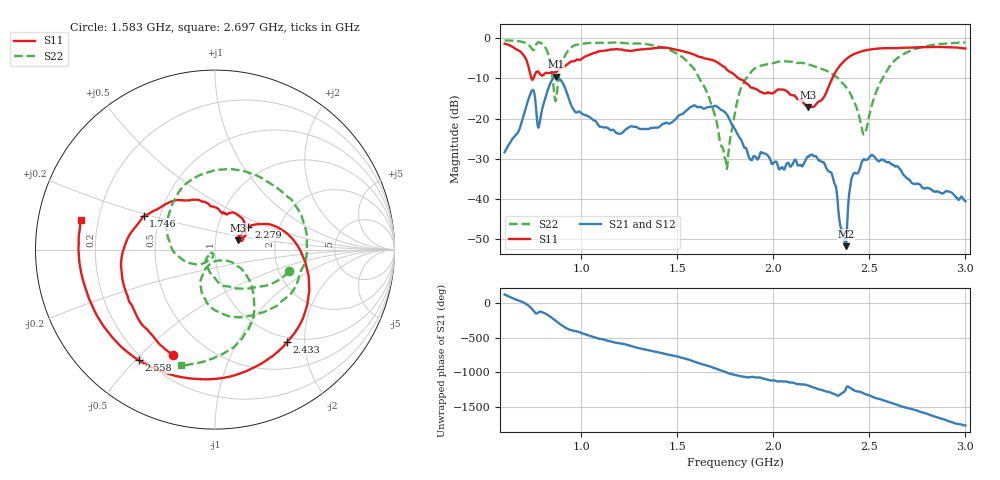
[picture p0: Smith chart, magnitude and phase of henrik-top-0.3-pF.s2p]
#  HZ  S  RI  R  50.00
! Rohde & Schwarz ZVB8 2Ports - Version 2.81 - 1145.1010k08 SN: 100113
! Date: 2016-04-20 02:16:05
! Measurements: S11 S21 S12 S22
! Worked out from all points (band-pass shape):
!   1000 points, 600 MHz to 3 GHz, reference 50 ohm
!   highest |S21| = -9.55 dB at 866.7 MHz (marker M1); lowest = -51.7 dB at 2.378 GHz (marker M2)
!   |S21| within 3 dB of the highest: 827.2 MHz to 916.2 MHz (89.04 MHz wide, 10.2 % of centre)
!   lowest |S11| = -17.2 dB at 2.178 GHz (marker M3), VSWR 1.32, Z = 64.4 + j6.69 ohm
!   |S11| at or under -10 dB: 740.1 MHz to 750.2 MHz (10.15 MHz wide, 1.36 % of centre); 1.821 GHz to 2.306 GHz (485.7 MHz wide, 23.5 % of centre)
!   |S22| runs from -32.5 to -0.5 dB; largest |S21 - S12| = 0.0032
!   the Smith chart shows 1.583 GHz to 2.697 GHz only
!   S11 on the Smith chart (normalised r, x): 1.583 GHz: 0.32, -0.63; 1.746 GHz: 0.41, +0.19; 2.279 GHz: 1.40, +0.37; 2.433 GHz: 0.92, -1.65; 2.558 GHz: 0.18, -0.51; 2.697 GHz: 0.14, +0.11
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6e8  0.7549 0.4046  -0.0205 0.0325  -0.0205 0.0325  0.5484 0.7621
6.816817e8  0.1273 -0.6739  0.07 0.0381  0.07 0.0382  0.8946 0.1864
7.249249e8  -0.3911 -0.1992  0.1354 -0.1135  0.1364 -0.1121  0.8076 -0.1775
8.042042e8  0.2129 0.2813  -0.1254 -0.094  -0.1257 -0.0938  0.3576 -0.7279
8.666667e8  0.2435 -0.2911  -0.0569 0.3283  -0.0565 0.3282  -0.089 0.1408
9.267267e8  -0.0966 -0.4655  0.1974 -0.0423  0.1972 -0.0424  0.6641 -0.1503
1.001201e9  -0.4969 -0.2467  0.0286 -0.1131  0.0287 -0.1129  0.3508 -0.7774
1.212613e9  0.121 0.7119  -0.0436 0.0506  -0.0436 0.0506  -0.854 -0.2042
1.4e9  0.7508 -0.13  0.0773 0.00781  0.0773 0.00791  -0.131 0.7806
1.582583e9  -0.2365 -0.5852  -0.0822 -0.1201  -0.0821 -0.12  0.4106 -0.1207
1.745946e9  -0.3974 0.1862  0.0125 0.1203  0.0126 0.1202  -0.0276 -0.0171
1.801201e9  -0.2084 0.2761  0.0598 0.0428  0.0597 0.0428  -0.0945 -0.0834
1.940541e9  0.0341 0.2094  0.0372 -0.00664  0.0372 -0.00679  0.1197 0.4448
2.178378e9  0.1292 0.0509  -0.0135 -0.0311  -0.0135 -0.031  0.3774 -0.2825
2.2e9  0.1289 0.0551  -0.0251 -0.0257  -0.025 -0.0257  0.3233 -0.3237
2.279279e9  0.1862 0.1256  -0.0215 0.00932  -0.0216 0.00935  0.1119 -0.3754
2.377778e9  0.5225 -0.1574  -0.00249 -0.00078  -0.00249 -0.000872  -0.0738 -0.2365
2.433033e9  0.4011 -0.5163  -0.0197 0.007  -0.0197 0.00696  -0.0625 -0.1228
2.557958e9  -0.4254 -0.6158  0.0212 0.022  0.0213 0.022  0.2042 -0.2012
2.601201e9  -0.6314 -0.4108  0.0289 0.00274  0.029 0.00272  0.2143 -0.3737
2.697297e9  -0.746 0.1624  0.00313 -0.0178  0.00313 -0.0177  -0.191 -0.6447
3e9  0.6011 0.4415  0.0085 0.00419  0.00851 0.0042  -0.5803 0.6682
